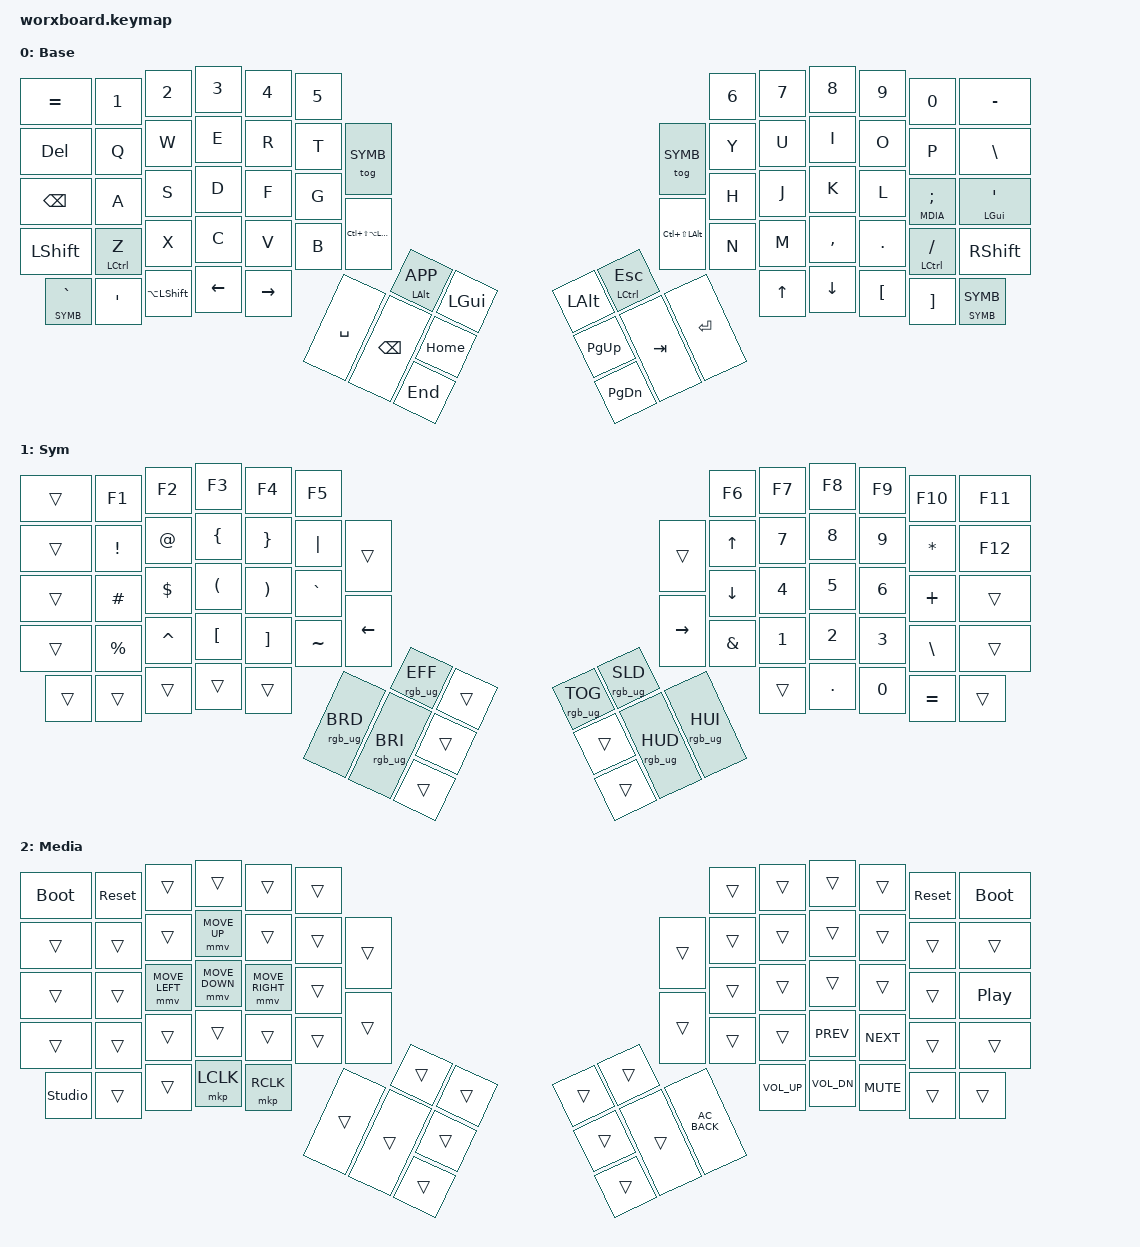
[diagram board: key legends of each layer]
/* SPDX-License-Identifier: MIT */
/*
 * worxboard keymap: 74 keys, 3 layers, after the QMK ergodox_ez default (design.md §5, §11.3).
 * Binding order = transform order = physical-layout order (worxboard-layouts.dtsi):
 *   rows 0..4: 12 / 14 / 12 / 14 / 10 keys, left outer -> inner, then right inner -> outer;
 *   thumbs:    (5,5) (5,6) (5,7) (5,8) / (5,4) (5,9) / (5,1) (5,2) (5,3) (5,10) (5,11) (5,12).
 * The inner-top keys of the EZ are the displays; their LEFT / RGHT move to layer 1.
 * Layer 1 thumbs carry the EZ's RGB keys (per-key RGB, rev B; docs/firmware.md#rgb).
 * Check with `just fw-keymap-check` (74 bindings per layer, base layer = layout.json legends).
 */
#include <behaviors.dtsi>
#include <dt-bindings/zmk/keys.h>
#include <dt-bindings/zmk/pointing.h>
#include <dt-bindings/zmk/rgb.h>

#define BASE 0
#define SYMB 1
#define MDIA 2

#define HYPER LC(LS(LA(LGUI)))
#define MEH   LC(LS(LALT))

/* QMK RGB_SLD (solid mode): select ZMK underglow effect 0, solid */
#define RGB_SLD RGB_EFS_CMD 0

/ {
    behaviors {
        /* QMK TT(): hold = momentary layer, tap = toggle layer */
        tt: tap_toggle {
            compatible = "zmk,behavior-hold-tap";
            #binding-cells = <2>;
            flavor = "tap-preferred";
            tapping-term-ms = <200>;
            bindings = <&mo>, <&tog>;
        };
    };

    keymap {
        compatible = "zmk,keymap";

        base {
            display-name = "Base";
            bindings = <
&kp EQUAL    &kp N1      &kp N2         &kp N3   &kp N4    &kp N5                         &kp N6   &kp N7   &kp N8    &kp N9  &kp N0          &kp MINUS
&kp DEL      &kp Q       &kp W          &kp E    &kp R     &kp T   &tog SYMB    &tog SYMB &kp Y    &kp U    &kp I     &kp O   &kp P           &kp BSLH
&kp BSPC     &kp A       &kp S          &kp D    &kp F     &kp G                          &kp H    &kp J    &kp K     &kp L   &lt MDIA SEMI   &mt LGUI SQT
&kp LSHFT    &mt LCTRL Z &kp X          &kp C    &kp V     &kp B   &kp HYPER    &kp MEH   &kp N    &kp M    &kp COMMA &kp DOT &mt LCTRL FSLH  &kp RSHFT
&lt SYMB GRAVE &kp SQT   &kp LA(LSHFT)  &kp LEFT &kp RIGHT                                         &kp UP   &kp DOWN  &kp LBKT &kp RBKT      &tt SYMB SYMB
                                        &mt LALT K_APP &kp LGUI           &kp LALT &mt LCTRL ESC
                                                       &kp HOME           &kp PG_UP
                               &kp SPACE &kp BSPC      &kp END            &kp PG_DN &kp TAB &kp RET
            >;
        };

        symb {
            display-name = "Sym";
            bindings = <
&trans       &kp F1      &kp F2         &kp F3   &kp F4    &kp F5                         &kp F6   &kp F7   &kp F8    &kp F9  &kp F10         &kp F11
&trans       &kp EXCL    &kp AT         &kp LBRC &kp RBRC  &kp PIPE &trans      &trans    &kp UP   &kp N7   &kp N8    &kp N9  &kp ASTRK       &kp F12
&trans       &kp HASH    &kp DLLR       &kp LPAR &kp RPAR  &kp GRAVE                      &kp DOWN &kp N4   &kp N5    &kp N6  &kp PLUS        &trans
&trans       &kp PRCNT   &kp CARET      &kp LBKT &kp RBKT  &kp TILDE &kp LEFT   &kp RIGHT &kp AMPS &kp N1   &kp N2    &kp N3  &kp BSLH        &trans
&trans       &trans      &trans         &trans   &trans                                            &trans   &kp DOT   &kp N0  &kp EQUAL       &trans
                                        &rgb_ug RGB_EFF &trans                    &rgb_ug RGB_TOG &rgb_ug RGB_SLD
                                                 &trans                           &trans
                      &rgb_ug RGB_BRD &rgb_ug RGB_BRI &trans                      &trans   &rgb_ug RGB_HUD &rgb_ug RGB_HUI
            >;
        };

        mdia {
            display-name = "Media";
            bindings = <
&bootloader  &sys_reset  &trans         &trans   &trans    &trans                         &trans   &trans   &trans    &trans  &sys_reset      &bootloader
&trans       &trans      &trans         &mmv MOVE_UP &trans &trans &trans       &trans    &trans   &trans   &trans    &trans  &trans          &trans
&trans       &trans      &mmv MOVE_LEFT &mmv MOVE_DOWN &mmv MOVE_RIGHT &trans                 &trans   &trans   &trans    &trans  &trans          &kp C_PP
&trans       &trans      &trans         &trans   &trans    &trans  &trans       &trans    &trans   &trans   &kp C_PREV &kp C_NEXT &trans      &trans
&studio_unlock &trans    &trans         &mkp LCLK &mkp RCLK                                        &kp C_VOL_UP &kp C_VOL_DN &kp C_MUTE &trans &trans
                                        &trans   &trans                           &trans   &trans
                                                 &trans                           &trans
                               &trans   &trans   &trans                           &trans   &trans  &kp C_AC_BACK
            >;
        };
    };
};
